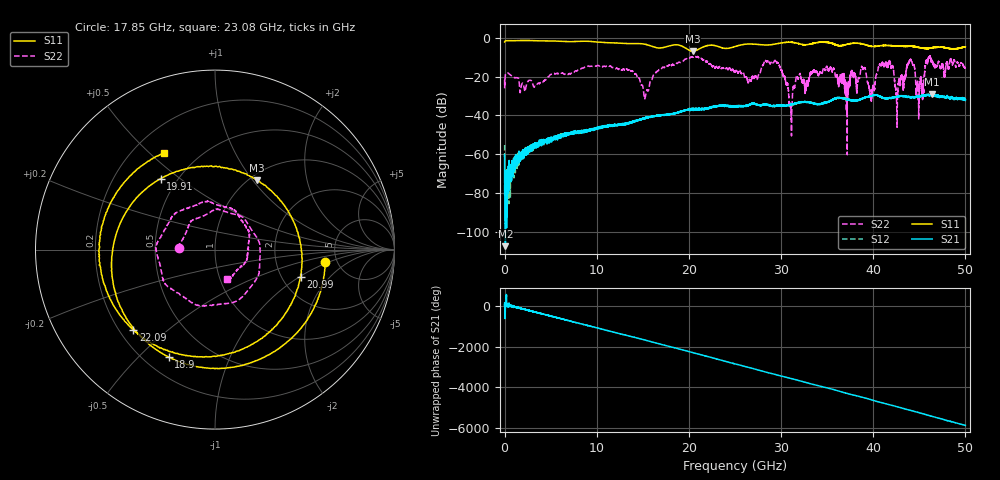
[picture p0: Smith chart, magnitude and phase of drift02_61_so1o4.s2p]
!Created with skrf (http://scikit-rf.org).
# Hz S RI R 50.0
!freq ReS11 ImS11 ReS21 ImS21 ReS12 ImS12 ReS22 ImS22
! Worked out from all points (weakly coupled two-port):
!   10001 points, 300 kHz to 50 GHz, reference 50 ohm
!   highest |S21| = -28.99 dB at 46.39 GHz (marker M1); lowest = -107.5 dB at 85.3 MHz (marker M2)
!   lowest |S11| = -6.9 dB at 20.41 GHz (marker M3), VSWR 2.64, Z = 54.1 + j52.3 ohm
!   |S11| at or under -10 dB: nowhere
!   |S22| runs from -60.3 to -9.2 dB; largest |S21 - S12| = 0.0035
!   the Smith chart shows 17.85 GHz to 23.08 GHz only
!   S11 on the Smith chart (normalised r, x): 17.85 GHz: 4.03, -0.87; 18.9 GHz: 0.30, -0.62; 19.91 GHz: 0.41, +0.43; 20.99 GHz: 2.53, -1.02; 22.09 GHz: 0.26, -0.39; 23.08 GHz: 0.32, +0.56
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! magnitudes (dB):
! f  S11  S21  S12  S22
! 300 kHz  -2.1  -60.3  -55.3  -21.6
! 85.3 MHz  -1.5  -107.5  -70.2  -19.1
! 8.335 GHz  -1.7  -48.1  -48.6  -15.7
! 15.32 GHz  -3.4  -41.0  -41.2  -29.1
! 16.67 GHz  -5.2  -40.0  -40.0  -17.0
! 17.85 GHz  -4.2  -39.5  -39.4  -13.9
! 18.9 GHz  -3.7  -38.5  -38.4  -12.5
! 19.91 GHz  -6.0  -37.2  -37.0  -10.1
! 20.41 GHz  -6.9  -36.9  -36.7  -10.0
! 20.99 GHz  -6.0  -36.9  -36.7  -9.7
! 22.09 GHz  -3.9  -36.4  -36.2  -12.8
! 23.08 GHz  -4.3  -35.2  -35.3  -15.0
! 25 GHz  -4.5  -35.1  -35.3  -17.5
! 29.51 GHz  -3.1  -34.9  -35.2  -12.6
! 31.03 GHz  -2.2  -34.4  -34.6  -35.5
! 33.34 GHz  -3.0  -33.6  -33.4  -18.2
! 38.92 GHz  -3.2  -31.2  -31.1  -16.1
! 39.86 GHz  -4.4  -29.8  -29.8  -28.4
! 41.67 GHz  -3.9  -31.2  -31.2  -13.4
! 42.58 GHz  -4.3  -30.4  -30.3  -42.0
! 46.39 GHz  -5.1  -29.0  -29.3  -12.5
! 50 GHz  -4.6  -31.9  -31.6  -15.9
